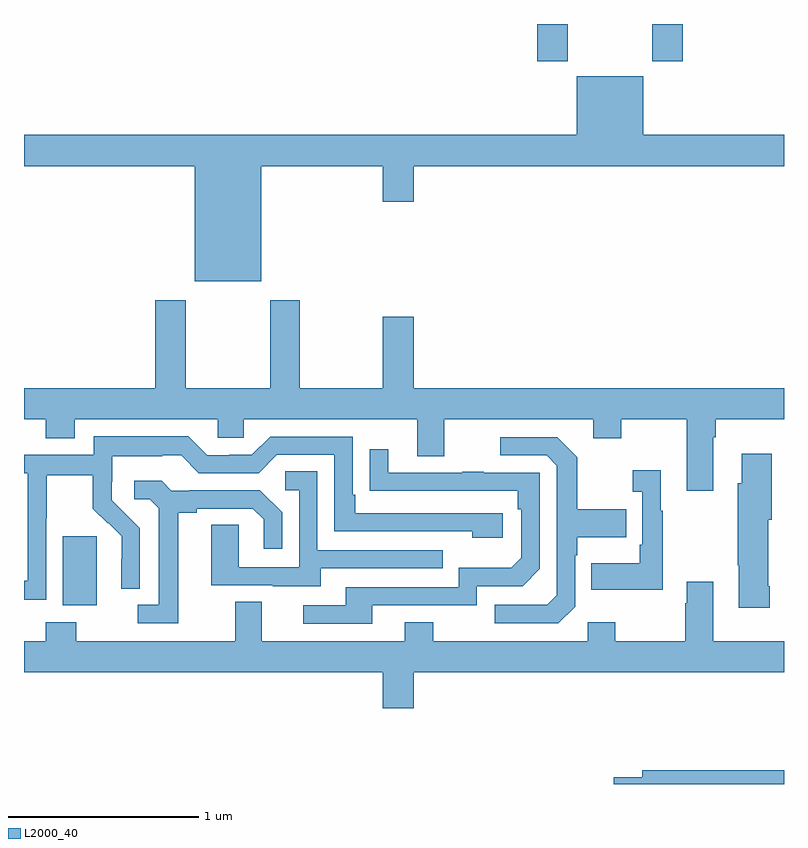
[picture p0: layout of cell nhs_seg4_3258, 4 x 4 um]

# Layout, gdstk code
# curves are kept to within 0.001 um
import gdstk
lib = gdstk.Library(unit=1e-6, precision=1e-09)
def R(c, l, rs):  # rectangles x0, y0, x1, y1
    for r in rs: c.add(gdstk.rectangle(r[:2], r[2:], *l))
def P(c, l, *ps):  # polygons
    for p in ps: c.add(gdstk.Polygon(p, *l))
L2000_40 = (2000, 40)

nhs_seg4_3258 = lib.new_cell('nhs_seg4_3258')
R(nhs_seg4_3258, L2000_40, [(283.205,795.842,283.384,796.203), (285.701,798.705,285.861,798.9), (286.306,798.705,286.466,798.9)])
P(nhs_seg4_3258, L2000_40, [(284.248,798.152),(284.888,798.152),(284.888,797.964),(285.052,797.964),(285.052,798.152),(287,798.152),(287,798.316),(286.258,798.316),(286.258,798.625),(285.908,798.625),(285.908,798.316),(283,798.316),(283,798.152),(283.898,798.152),(283.898,797.546),(284.248,797.546)],
  [(286.627,796.724),(286.64,796.724),(286.64,796.82),(287,796.82),(287,796.984),(285.052,796.984),(285.052,797.359),(284.888,797.359),(284.888,796.984),(284.451,796.984),(284.451,797.446),(284.296,797.446),(284.296,796.984),(283.851,796.984),(283.851,797.446),(283.691,797.446),(283.691,796.984),(283,796.984),(283,796.82),(283.115,796.82),(283.115,796.721),(283.267,796.721),(283.267,796.82),(284.019,796.82),(284.019,796.722),(284.157,796.722),(284.157,796.82),(285.071,796.82),(285.071,796.626),(285.211,796.626),(285.211,796.82),(285.995,796.82),(285.995,796.721),(286.143,796.721),(286.143,796.82),(286.487,796.82),(286.487,796.443),(286.627,796.443)],
  [(283.116,796.3),(283.119,796.3),(283.119,796.524),(283.363,796.524),(283.363,796.349),(283.44,796.272),(283.443,796.275),(283.514,796.205),(283.514,796.082),(283.512,796.082),(283.512,795.928),(283.608,795.928),(283.608,796.246),(283.462,796.394),(283.462,796.491),(283.464,796.491),(283.464,796.625),(283.727,796.625),(283.727,796.629),(283.827,796.629),(283.92,796.536),(284.235,796.536),(284.331,796.632),(284.634,796.632),(284.634,796.23),(285.359,796.23),(285.359,796.196),(285.52,796.196),(285.52,796.326),(284.743,796.326),(284.743,796.423),(284.73,796.423),(284.73,796.728),(284.295,796.728),(284.199,796.632),(284.081,796.632),(284.081,796.629),(283.965,796.629),(283.865,796.729),(283.368,796.729),(283.368,796.632),(283,796.632),(283,796.536),(283.02,796.536),(283.02,795.969),(283,795.969),(283,795.871),(283.116,795.871)],
  [(285.9,795.834),(285.9,796.103),(285.913,796.103),(285.913,796.199),(286.169,796.199),(286.169,796.347),(285.913,796.347),(285.913,796.619),(285.807,796.725),(285.507,796.725),(285.507,796.629),(285.75,796.629),(285.804,796.575),(285.804,795.894),(285.753,795.843),(285.477,795.843),(285.477,795.747),(285.813,795.747)],
  [(284.833,795.84),(285.384,795.84),(285.384,795.942),(285.624,795.942),(285.714,796.032),(285.714,796.539),(285.419,796.539),(285.419,796.544),(285.307,796.544),(285.307,796.539),(284.917,796.539),(284.917,796.663),(284.821,796.663),(284.821,796.444),(285.598,796.443),(285.598,796.346),(285.618,796.346),(285.618,796.092),(285.565,796.039),(285.288,796.039),(285.288,795.936),(284.693,795.936),(284.693,795.84),(284.469,795.84),(284.469,795.744),(284.833,795.744)],
  [(286.926,795.94),(286.918,795.94),(286.918,796.29),(286.936,796.29),(286.936,796.639),(286.778,796.639),(286.778,796.482),(286.756,796.482),(286.756,796.051),(286.763,796.051),(286.763,795.828),(286.926,795.828)],
  [(286.363,796.339),(286.351,796.339),(286.351,796.552),(286.203,796.552),(286.203,796.439),(286.254,796.439),(286.254,796.159),(286.242,796.159),(286.242,796.063),(285.985,796.063),(285.985,795.923),(286.363,795.923)],
  [(284.563,796.035),(285.203,796.035),(285.203,796.131),(284.544,796.131),(284.544,796.547),(284.376,796.547),(284.376,796.446),(284.448,796.446),(284.448,796.041),(284.13,796.041),(284.13,796.265),(283.985,796.265),(283.985,795.945),(284.309,795.945),(284.309,795.941),(284.563,795.941)],
  [(283.813,796.328),(283.909,796.328),(283.909,796.35),(284.204,796.35),(284.261,796.293),(284.261,796.137),(284.358,796.137),(284.358,796.33),(284.242,796.446),(283.87,796.446),(283.87,796.443),(283.776,796.443),(283.724,796.495),(283.581,796.495),(283.581,796.398),(283.662,796.398),(283.709,796.351),(283.709,795.843),(283.599,795.843),(283.599,795.747),(283.813,795.747)],
  [(285.052,795.488),(287,795.488),(287,795.652),(286.627,795.652),(286.627,795.964),(286.487,795.964),(286.487,795.851),(286.48,795.851),(286.48,795.652),(286.113,795.652),(286.113,795.751),(285.966,795.751),(285.966,795.652),(285.153,795.652),(285.153,795.751),(285.005,795.751),(285.005,795.652),(284.251,795.652),(284.251,795.86),(284.111,795.86),(284.111,795.652),(283.275,795.652),(283.275,795.751),(283.115,795.751),(283.115,795.652),(283,795.652),(283,795.488),(284.888,795.488),(284.888,795.3),(285.052,795.3)],
  [(287,794.972),(286.253,794.972),(286.253,794.936),(286.104,794.936),(286.104,794.9),(287,794.9)])

lib.write_gds('nhs_seg4_3258.gds')
